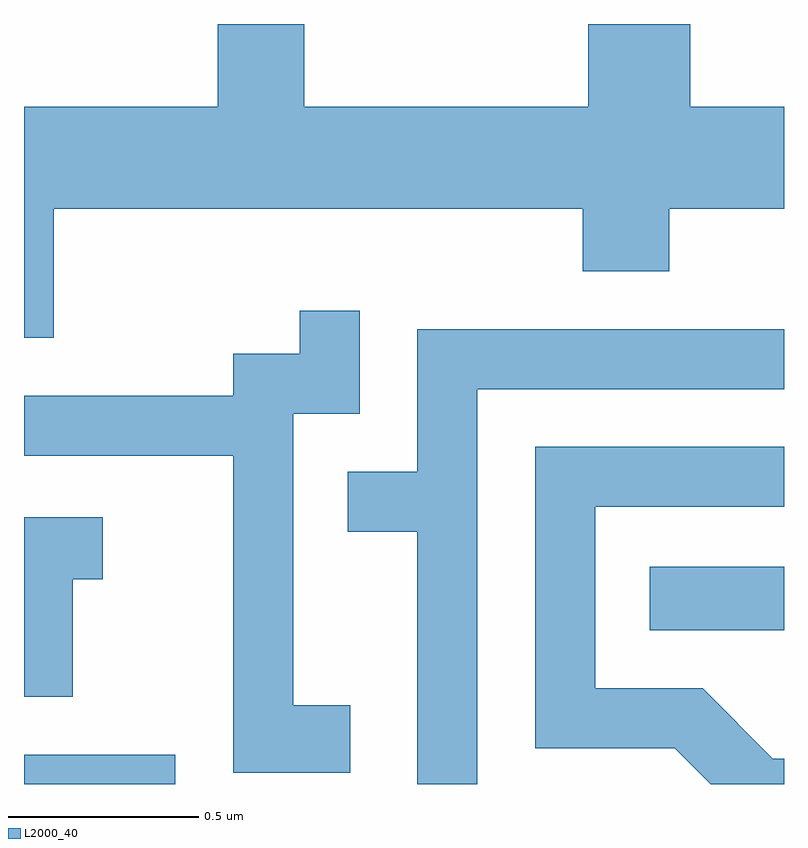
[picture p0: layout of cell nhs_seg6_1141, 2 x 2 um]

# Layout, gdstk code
import gdstk
lib = gdstk.Library(unit=1e-6, precision=1e-09)
def R(c, l, rs):  # rectangles x0, y0, x1, y1
    for r in rs: c.add(gdstk.rectangle(r[:2], r[2:], *l))
def P(c, l, *ps):  # polygons
    for p in ps: c.add(gdstk.Polygon(p, *l))
L2000_40 = (2000, 40)

nhs_seg6_1141 = lib.new_cell('nhs_seg6_1141')
R(nhs_seg6_1141, L2000_40, [(193.611,1575.162,194.009,1575.239), (195.258,1575.566,195.611,1575.734)])
P(nhs_seg6_1141, L2000_40, [(193.689,1576.676),(195.081,1576.676),(195.081,1576.511),(195.309,1576.511),(195.309,1576.676),(195.611,1576.676),(195.611,1576.944),(195.364,1576.944),(195.364,1577.162),(195.096,1577.162),(195.096,1576.944),(194.349,1576.944),(194.349,1577.162),(194.121,1577.162),(194.121,1576.944),(193.611,1576.944),(193.611,1576.336),(193.689,1576.336)],
  [(194.469,1575.369),(194.319,1575.369),(194.319,1576.136),(194.494,1576.136),(194.494,1576.408),(194.336,1576.408),(194.336,1576.294),(194.161,1576.294),(194.161,1576.184),(193.611,1576.184),(193.611,1576.026),(194.161,1576.026),(194.161,1575.191),(194.469,1575.191)],
  [(194.804,1576.201),(195.611,1576.201),(195.611,1576.359),(194.646,1576.359),(194.646,1575.984),(194.463,1575.984),(194.463,1575.826),(194.646,1575.826),(194.646,1575.162),(194.804,1575.162)],
  [(195.611,1575.229),(195.582,1575.229),(195.397,1575.414),(195.114,1575.414),(195.114,1575.891),(195.611,1575.891),(195.611,1576.049),(194.956,1576.049),(194.956,1575.256),(195.324,1575.256),(195.418,1575.162),(195.611,1575.162)],
  [(193.739,1575.701),(193.818,1575.701),(193.818,1575.864),(193.611,1575.864),(193.611,1575.391),(193.739,1575.391)])

lib.write_gds('nhs_seg6_1141.gds')
